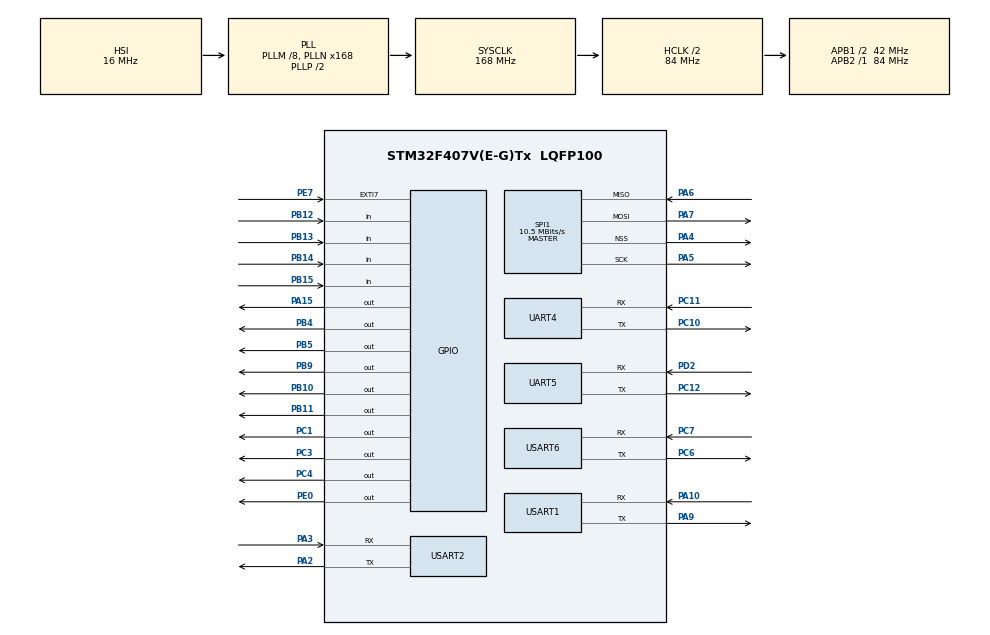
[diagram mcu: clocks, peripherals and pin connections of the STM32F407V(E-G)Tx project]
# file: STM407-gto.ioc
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Mcu.Family=STM32F4
PA6.Mode=Full_Duplex_Master
Dma.SPI1_TX.0.MemInc=DMA_MINC_ENABLE
PH0-OSC_IN.Signal=RCC_OSC_IN
VP_SYS_VS_tim6.Mode=TIM6
Dma.SPI1_TX.0.PeriphInc=DMA_PINC_DISABLE
RCC.CortexFreq_Value=84000000
SPI1.VirtualType=VM_MASTER
NVIC.TIM6_DAC_IRQn=true\:0\:0\:false\:false\:true\:false\:true
PC10.Signal=UART4_TX
PC12.Signal=UART5_TX
PA2.GPIO_Speed=GPIO_SPEED_FREQ_VERY_HIGH
VP_RTC_VS_RTC_Activate.Mode=RTC_Enabled
PB11.Signal=GPIO_Output
PB13.Signal=GPIO_Input
PB15.Signal=GPIO_Input
RCC.SYSCLKSource=RCC_SYSCLKSOURCE_PLLCLK
ProjectManager.StackSize=0x400
NVIC.UART5_IRQn=true\:0\:0\:false\:false\:true\:true\:true
VP_TIM7_VS_ClockSourceINT.Mode=Enable_Timer
SPI1.CLKPolarity=SPI_POLARITY_LOW
PA4.Mode=NSS_Signal_Hard_Output
SPI1.Direction=SPI_DIRECTION_2LINES
RCC.HCLKFreq_Value=84000000
RCC.APB2TimFreq_Value=84000000
PC7.Signal=USART6_RX
SPI1.CalculateBaudRate=10.5 MBits/s
PC3.Signal=GPIO_Output
RCC.AHBFreq_Value=84000000
PH0-OSC_IN.Mode=HSE-External-Oscillator
RCC.HSE_VALUE=25000000
PB3.Mode=Trace_Asynchronous_SW
PA14.Mode=Trace_Asynchronous_SW
SPI1.VirtualNSS=VM_NSSHARD
VP_TIM1_VS_ClockSourceINT.Mode=Internal
Dma.SPI1_TX.0.Mode=DMA_NORMAL
PH1-OSC_OUT.Mode=HSE-External-Oscillator
Mcu.Package=LQFP100
PB9.Signal=GPIO_Output
PA6.Signal=SPI1_MISO
NVIC.TimeBase=TIM6_DAC_IRQn
USART2.VirtualMode=VM_ASYNC
USART6.VirtualMode=VM_ASYNC
NVIC.TimeBaseIP=TIM6
PA10.Signal=USART1_RX
VP_RTC_VS_RTC_Calendar.Mode=RTC_Calendar
PA15.Signal=GPIO_Output
PC11.Mode=Asynchronous
RCC.APB1TimFreq_Value=84000000
PE7.Signal=GPXTI7
NVIC.USART1_IRQn=true\:0\:0\:false\:true\:true\:2\:true\:true
Dma.Request0=SPI1_TX
SPI1.BaudRatePrescaler=SPI_BAUDRATEPRESCALER_8
NVIC.TIM7_IRQn=true\:0\:0\:false\:false\:true\:true\:true
VP_TIM1_VS_ControllerModeTrigger.Mode=Trigger Mode
PB4.Signal=GPIO_Output
PA3.Signal=USART2_RX
NVIC.UART4_IRQn=true\:0\:0\:false\:false\:true\:true\:true
PA5.Mode=Full_Duplex_Master
PA7.Mode=Full_Duplex_Master
PA10.Mode=Asynchronous
PC11.Signal=UART4_RX
PC4.Signal=GPIO_Output
PC6.Signal=USART6_TX
PC10.Mode=Asynchronous
SPI1.CLKPhase=SPI_PHASE_1EDGE
UART5.VirtualMode=Asynchronous
RCC.APB1CLKDivider=RCC_HCLK_DIV2
UART4.VirtualMode=Asynchronous
NVIC.USART2_IRQn=true\:0\:0\:false\:false\:true\:true\:true
NVIC.USART6_IRQn=true\:0\:0\:false\:true\:true\:3\:true\:true
PA3.Mode=Asynchronous
PA13.Signal=SYS_JTMS-SWDIO
Dma.SPI1_TX.0.FIFOMode=DMA_FIFOMODE_DISABLE
PA9.Mode=Asynchronous
ProjectManager.TargetToolchain=STM32CubeIDE
PC6.Mode=Asynchronous
Dma.SPI1_TX.0.PeriphDataAlignment=DMA_PDATAALIGN_BYTE
Dma.SPI1_TX.0.Direction=DMA_MEMORY_TO_PERIPH
PA9.Signal=USART1_TX
VP_TIM1_VS_ClockSourceITR.Mode=TriggerSource_ITR0
NVIC.DMA2_Stream3_IRQn=true\:0\:0\:false\:false\:true\:false\:true
RCC.LSE_VALUE=32768
PB10.Signal=GPIO_Output
PB14.Signal=GPIO_Input
PD2.Mode=Asynchronous
PA5.Signal=SPI1_SCK
PC12.Mode=Asynchronous
TIM7.Prescaler=41
board=custom
RCC.VCOOutputFreq_Value=336000000
RCC.APB2Freq_Value=84000000
SPI1.Mode=SPI_MODE_MASTER
PH1-OSC_OUT.Signal=RCC_OSC_OUT
Dma.SPI1_TX.0.Instance=DMA2_Stream3
RCC.AHBCLKDivider=RCC_SYSCLK_DIV2
PA13.Mode=Trace_Asynchronous_SW
PE0.Signal=GPIO_Output
Mcu.Name=STM32F407V(E-G)Tx
PA2.Signal=USART2_TX
RCC.48MHZClocksFreq_Value=84000000
PB3.Signal=SYS_JTDO-SWO
PA4.Signal=SPI1_NSS
RCC.SYSCLKFreq_VALUE=168000000
PB5.Signal=GPIO_Output
USART1.VirtualMode=VM_ASYNC
NVIC.EXTI9_5_IRQn=true\:0\:0\:false\:false\:true\:true\:true
PA14.Signal=SYS_JTCK-SWCLK
ProjectManager.HeapSize=0x200
Dma.SPI1_TX.0.MemDataAlignment=DMA_MDATAALIGN_BYTE
Dma.SPI1_TX.0.Priority=DMA_PRIORITY_LOW
RCC.HSI_VALUE=16000000
NVIC.PriorityGroup=NVIC_PRIORITYGROUP_4
RCC.PLLM=8
RCC.PLLN=168
PA2.Mode=Asynchronous
PC7.Mode=Asynchronous
PD2.Signal=UART5_RX
RCC.APB1Freq_Value=42000000
PC1.Signal=GPIO_Output
PB12.Signal=GPIO_Input
PA7.Signal=SPI1_MOSI

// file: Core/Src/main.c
/* USER CODE BEGIN Header */
/**
  ******************************************************************************
  * @file           : main.c
  * @brief          : Main program body
  ******************************************************************************
  * @attention
  *
  * <h2><center>&copy; Copyright (c) 2021 STMicroelectronics.
  * All rights reserved.</center></h2>
  *
  * This software component is licensed by ST under BSD 3-Clause license,
  * the "License"; You may not use this file except in compliance with the
  * License. You may obtain a copy of the License at:
  *                        opensource.org/licenses/BSD-3-Clause
  *
  ******************************************************************************
  */
/* USER CODE END Header */
#include "main.h"

/* USER CODE BEGIN Includes */
#include "stdio.h"
#include "string.h"
#include "stdlib.h"
#include "dwt_stm32_delay.h"	//gto

#include "dhcp.h"				//gto
#include "w5100.h"				//gto
#include "wizchip_conf.h"		//gto
#include "socket.h"				//gto

//gto make
#include "spi_handler.h"
#include "uart.h"
#include "gpio.h"

/* USER CODE END Includes */

RTC_HandleTypeDef hrtc;

//SPI_HandleTypeDef hspi1;
DMA_HandleTypeDef hdma_spi1_tx;

TIM_HandleTypeDef htim1;
TIM_HandleTypeDef htim7;

/*
UART_HandleTypeDef huart4;
UART_HandleTypeDef huart5;
UART_HandleTypeDef huart1;
UART_HandleTypeDef huart2;
UART_HandleTypeDef huart6;
*/

void SystemClock_Config(void);
//static void MX_GPIO_Init(void);
static void MX_DMA_Init(void);
//static void MX_USART2_UART_Init(void);
//static void MX_USART1_UART_Init(void);
//static void MX_UART4_Init(void);
//static void MX_UART5_Init(void);
//static void MX_USART6_UART_Init(void);
//static void MX_SPI1_Init(void);
static void MX_TIM1_Init(void);
static void MX_TIM7_Init(void);
static void MX_RTC_Init(void);
static void MX_NVIC_Init(void);

/* USER CODE BEGIN 0 */
//gto
//char *gto_substr(int s, int e, char *str);
void Sync_out();
char *SubStr( char *pnInput, int nStart, int nLen );

#define SYNC_GEN	GPIO_PIN_0
#define DOWN_EN		GPIO_PIN_9
#define GPIO_A		GPIO_PIN_5
#define TX_EN		GPIO_PIN_1
#define RX_EN		GPIO_PIN_3

//ETHERNET (W5100) -gto
#define E_INT		GPIO_PIN_7
#define E_RST		GPIO_PIN_4
#define E_SCLK		GPIO_PIN_5
#define E_MOSI		GPIO_PIN_7
#define E_MISO		GPIO_PIN_6

//gto
/*ID*/
#define ID1			GPIO_PIN_12
#define ID2			GPIO_PIN_13
#define ID3			GPIO_PIN_14
#define ID4			GPIO_PIN_15

uint8_t start_data[17] = "START 32F407 \r\n";
uint8_t tx_data[10] = "recvD\r\n";
uint8_t rx_data5[10] = "uart5\r\n";
uint8_t rx_data4[10] = "uart4\r\n";
uint8_t dma_tx[10] = "hello gto ";
uint8_t data[1] = "S";
uint8_t sync_Signal = 0xff;
uint8_t test = 0x11;
uint8_t uart2_Signal = 0x00;
uint8_t uart6_Signal = 0x11;

uint8_t from105_00[5] = "10500";
uint8_t rx_data;

uint8_t etherNet_Flag = 0;

uint8_t id_1, id_2, id_3, id_4;
int deci1,deci2,deci3,deci4;
int result_bin;
int binary[20];

uint8_t recv_array[5];
uint8_t recv_cnt = 0;

char master_Name[2];

//uint8_t   data_receive_flag = 0;

//uint8_t   uart_6_flag = 0;

char 	compare_CMD[28] = "[FID=XX SLAVE ANCHOR DEVICE]";
char* 	reset_CMD;

/*##########################################################################################################*/
/* Ethernet */
#define PORT				60500
#define SEPARATOR            "=============================================\r\n"
#define WELCOME_MSG  		 "Welcome to STM32Nucleo Ethernet configuration\r\n"
#define NETWORK_MSG  		 "Network configuration:\r\n"
#define IP_MSG 		 		 "  IP ADDRESS:  %d.%d.%d.%d\r\n"
#define NETMASK_MSG	         "  NETMASK:     %d.%d.%d.%d\r\n"
#define GW_MSG 		 		 "  GATEWAY:     %d.%d.%d.%d\r\n"
#define MAC_MSG		 		 "  MAC ADDRESS: %x:%x:%x:%x:%x:%x\r\n"
#define GREETING_MSG 		 "Well done! Connected to the STM-407 Board. GoodBye!!\r\n"
#define CONN_ESTABLISHED_MSG "Connection established with remote IP: %d.%d.%d.%d:%d\r\n"
#define SENT_MESSAGE_MSG	 "Sent a message. Let's close the socket!\r\n"
#define WRONG_RETVAL_MSG	 "Something went wrong; return value: %d\r\n"
#define WRONG_STATUS_MSG	 "Something went wrong; STATUS: %d\r\n"
#define LISTEN_ERR_MSG		 "LISTEN Error!\r\n"
#define GTO_MSG		 		 "GTO Return MSG\r\n"

#define E_RST_HIGH()		HAL_GPIO_WritePin(GPIOC, E_RST, 1)
#define E_RST_LOW()			HAL_GPIO_WritePin(GPIOC, E_RST, 0)

#define SOCK_LISTEN         0x14
#define SOCK_INIT	        0x13
#define SOCK_ESTABLISHED    0x17
#define SOCK_CLOSE_WAIT     0x1C
#define SOCK_CLOSED			0x00

#define PRINT_STR(msg) do  {										\
  HAL_UART_Transmit(&huart1, (uint8_t*)msg, strlen(msg), 100);		\
} while(0)

#define PRINT_HEADER() do  {													\
  HAL_UART_Transmit(&huart1, (uint8_t*)SEPARATOR, strlen(SEPARATOR), 100);		\
  HAL_UART_Transmit(&huart1, (uint8_t*)WELCOME_MSG, strlen(WELCOME_MSG), 100);	\
  HAL_UART_Transmit(&huart1, (uint8_t*)SEPARATOR, strlen(SEPARATOR), 100);		\
} while(0)

#define PRINT_NETINFO(netInfo) do { 																					\
  HAL_UART_Transmit(&huart1, (uint8_t*)NETWORK_MSG, strlen(NETWORK_MSG), 100);											\
  sprintf(msg, MAC_MSG, netInfo.mac[0], netInfo.mac[1], netInfo.mac[2], netInfo.mac[3], netInfo.mac[4], netInfo.mac[5]);\
  HAL_UART_Transmit(&huart1, (uint8_t*)msg, strlen(msg), 100);															\
  sprintf(msg, IP_MSG, netInfo.ip[0], netInfo.ip[1], netInfo.ip[2], netInfo.ip[3]);										\
  HAL_UART_Transmit(&huart1, (uint8_t*)msg, strlen(msg), 100);															\
  sprintf(msg, NETMASK_MSG, netInfo.sn[0], netInfo.sn[1], netInfo.sn[2], netInfo.sn[3]);								\
  HAL_UART_Transmit(&huart1, (uint8_t*)msg, strlen(msg), 100);															\
  sprintf(msg, GW_MSG, netInfo.gw[0], netInfo.gw[1], netInfo.gw[2], netInfo.gw[3]);										\
  HAL_UART_Transmit(&huart1, (uint8_t*)msg, strlen(msg), 100);															\
} while(0)

void loopback_tcpc(SOCKET s, uint16_t port);

char msg[60];

void cs_sel() {
	HAL_GPIO_WritePin(GPIOA, GPIO_PIN_4, GPIO_PIN_RESET); //CS LOW
}

void cs_desel() {
	HAL_GPIO_WritePin(GPIOA, GPIO_PIN_4, GPIO_PIN_SET); //CS HIGH
}

uint8_t spi_rb(void) {
	uint8_t rbuf;
	HAL_SPI_Receive(&hspi1, &rbuf, 1, 0xFFFFFFFFU);
	return rbuf;
}

void spi_wb(uint8_t b) {
	HAL_SPI_Transmit(&hspi1, &b, 1, 0xFFFFFFFFU);
}

uint8_t retVal, sockStatus;
uint8_t bufSize[] = {2, 2, 2, 2};

#define SOCK_TCPS			0
#define TX_RX_MAX_BUF_SIZE	2048

int32_t loopback_tcps(uint8_t, uint8_t*, uint16_t);		// Loopback TCP server

//static uint8_t buff_size[] = { 2, 2, 2, 2 };
#define Sn_IMR(N)          (_W5100_IO_BASE_ + (0x002C << 8) + (WIZCHIP_SREG_BLOCK(N) << 3))
#define setSn_IMR(sn, imr) \
		WIZCHIP_WRITE(Sn_IMR(sn), (imr & 0x1F))1

uint32_t	ret;
uint16_t	size = 0, sentsize = 0;

uint8_t c_buffer[2048];		//client sends 8 bytes
uint8_t test_100[100] = "gtogtogtogtogtogtogtogtogtogtogtogtogtogtogtogtogtogtogtogtogtogtogtogtogtogtogtogtogtogto1234567890";

uint8_t ah, as;
static uint16_t wizDHCPticks = 0;

#define DMA_BUF_SIZE   2048
uint8_t TX_Buffer[5];

DESTINATION_SETUP Destination_Setup;
uint8_t gDATABUF[DATA_BUF_SIZE];
uint8_t TX_BUF[DATA_BUF_SIZE]; // TX Buffer for applications
uint8_t ch_status[MAX_SOCK_NUM] = { 0, };	// 0:close, 1:ready, 2:connected
uint16_t sys_tick_cnt;
wiz_NetInfo gWIZNETINFO;
/*##########################################################################################################*/
//for SPI DMA

DMA_InitTypeDef  DMA_InitStructure;

/*##########################################################################################################*/
//External Interrupt
void HAL_GPIO_EXTI_Callback(uint16_t GPIO_Pin)
{
	printf("EXTERNAL INTERRUPT CALLBACK EVENT !! \r\n");
	etherNet_Flag = 1;
	//setSn_IR(0, 0xff);
	//TCP_Ethernet_Server();
}
/*##########################################################################################################*/

/*##########################################################################################################*/
/*Send information (strings) to the console (PC) */

/*printf for uart1*/	//gto
int _write(int file, char *ptr, int len)
{
	HAL_UART_Transmit(&huart1, (uint8_t *) ptr, len, 500);
	return len;
}

/*Function to write directly to UART*/	//gto
void debugPrint(UART_HandleTypeDef *huart1, char _out[]){
 HAL_UART_Transmit(huart1, (uint8_t *) _out, strlen(_out), 10);
}

/*Function to write to UART and new line termination*/ //gto
void debugPrintln(UART_HandleTypeDef *huart, char _out[]){
 HAL_UART_Transmit(huart, (uint8_t *) _out, strlen(_out), 10);
 char newline[2] = "\r\n";
 HAL_UART_Transmit(huart, (uint8_t *) newline, 2, 10);
}

/*##########################################################################################################*/

/* USER CODE END 0 */

int main(void)
{

  /* MCU Configuration--------------------------------------------------------*/

  /* Reset of all peripherals, Initializes the Flash interface and the Systick. */
  HAL_Init();

  /* Configure the system clock */
  SystemClock_Config();

  /* Initialize all configured peripherals */
  MX_GPIO_Init();

  MX_SPI1_Init();

  MX_DMA_Init();

  MX_USART1_UART_Init();
  MX_USART2_UART_Init();
  MX_UART5_Init();
  MX_UART4_Init();
  MX_USART6_UART_Init();

  MX_TIM1_Init();
  MX_TIM7_Init();

  MX_RTC_Init();

  /* Initialize interrupts */
  MX_NVIC_Init();
  /* USER CODE BEGIN 2 */

  /*##########################################################################################################*/
  /*START DEBUGGING MESSAGE*/

  printf("\r\n * Start STM32F407 for Master Anchor - 20210825 GTO * \r\n\n");
  printf(" =============== 1. UART and 4Mbps test Okay (USART 1, 2, 3, 4, 5, 6) \r\n");
  printf(" =============== 2. GPIO test Okay \r\n");
  printf(" =============== 3. SPI and EXTI test Okay (for Ethernet) \r\n");
  printf(" =============== 4. ETHERNET test Okay (Handler Callback) \r\n");
  printf("\n");

  /*END DEBUGGING MESSAGE*/
  /*##########################################################################################################*/

  /*##########################################################################################################*/
  /*INTERRUPT SET*/
  //gto
  HAL_UART_Receive_IT(&huart1, &rx_data, 1);
  HAL_UART_Receive_IT(&huart2, (uint8_t *) &data, 1); // interrupt uart 2
  HAL_UART_Receive_IT(&huart6, (uint8_t *) &GTO_rxdata, 1); // interrupt uart 6

  /*PIN SET*/
  HAL_GPIO_WritePin(GPIOB, DOWN_EN, 0); 	// GPIO PB9 OUTPUT LOW -> Down enable
  HAL_GPIO_WritePin(GPIOE, SYNC_GEN, 0); 	// SYNC_GEN LOW

  HAL_GPIO_WritePin(GPIOC, TX_EN, 1);		// GPIO PC1 OUTPUT HIGH -> tx enable
  HAL_GPIO_WritePin(GPIOC, RX_EN, 0);		// GPIO PC1 OUTPUT LOW -> rx enable

  //HAL_GPIO_WritePin(GPIOC, RX_EN, 1);		// GPIO PC1 OUTPUT HIGH -> rx enable

  /*##########################################################################################################*/

  /*##########################################################################################################*/
  /*ETHERNET SET*/
  //gto
  //printf("\r\n EHTERNET RUNNING .... 20210813 \r\n");
  E_RST_HIGH();								// Ethernet Enable
  //HAL_GPIO_WritePin(GPIOC, E_RST, 1);		// Ethernet Enable

  //HAL_GPIO_WritePin(GPIOE, GPIO_PIN_7, 1);	// Ethernet Extra Interrupt Enable

  reg_wizchip_cs_cbfunc(cs_sel, cs_desel);

  reg_wizchip_spi_cbfunc(spi_rb, spi_wb);

  wizchip_init(bufSize, bufSize);
  /*
  wiz_NetInfo netInfo = { .mac 	= {0x00, 0x08, 0xdc, 0xab, 0xcd, 0xef},	// Mac address
		  	  	  	  	  .ip 	= {192, 168, 2, 192},					// IP address
						  .sn 	= {255, 255, 255, 0},					// Subnet mask
						  .gw 	= {192, 168, 2, 1}};					// Gateway address
  */

  wiz_NetInfo netInfo = { .mac 	= {0x59, 0x08, 0xdc, 0xab, 0xcd, 0xef},	// Mac address
 		  	  	  	  	  .ip 	= {10, 0, 7, 211},						// IP address
 						  .sn 	= {255, 255, 248, 0},					// Subnet mask
 						  .gw 	= {10, 0, 0, 1}};						// Gateway address

  wizchip_setnetinfo(&netInfo);
  wizchip_getnetinfo(&netInfo);
  PRINT_NETINFO(netInfo);

  // target server ip set
  Destination_Setup.destip[0] = 10; Destination_Setup.destip[1] = 0; Destination_Setup.destip[2] = 0; Destination_Setup.destip[3] = 87;
  // target server port set
  Destination_Setup.port = 60500;

  //HAL_SPI_Transmit_DMA(&hspi1, DMA_BUF_SIZE, 1); //Transmit DMA Enable
  //HAL_SPI_Receive_DMA(&hspi1, DMA_BUF_SIZE, 1);  //Receive DMA Enable

  /*##########################################################################################################*/

  /* USER CODE END 2 */

  /* Infinite loop */
  /* USER CODE BEGIN WHILE */

  //HAL_GPIO_WritePin(GPIOC, GPIO_PIN_1, 1); // GPIO PC1 OUTPUT HIGH -> tx enable
  //HAL_GPIO_WritePin(GPIOC, E_RST, 0);

  uint8_t tmp;
  uint8_t memsize[2][8] = {{2,2,2,2,2,2,2,2},{2,2,2,2,2,2,2,2}};

  /* WIZCHIP SOCKET Buffer initialize */
  if(ctlwizchip(CW_INIT_WIZCHIP,(void*)memsize) == -1)
  {
	  printf("WIZCHIP Initialized fail.\r\n");
	  DWT_Delay_us(10);
	  while(1);
  }

  /* PHY link status check */

  do
  {
	  if(ctlwizchip(CW_GET_PHYLINK, (void*)&tmp) == -1){
		  DWT_Delay_us(10);
		  printf("Unknown PHY Link stauts.\r\n");
	  }

  }while(tmp == PHY_LINK_OFF);

  while (1)
  {

	  //DWT_Delay_us(1000);											// 10 microsecond
	  //HAL_UART_Transmit(&huart6, (uint8_t *) &test, 1, 10);		//4mbps test

	  //loopback_tcps(SOCK_TCPS, 20, 60500);
	  loopback_tcpc(1, 60500);
	  DWT_Delay_us(1000);

	  //setIMR(0x01);
	  //setSn_IR(0, Sn_IR_RECV);	//Interrupt occurs only in the recv interrupt of socket '0'.

	  if (uart1_key_Flag){
		  uart1_key_Flag = 0;
		  switch(rx_data){
			  case 'a':
				  debugPrint(&huart1, "debugPrint test ");
				  debugPrintln(&huart1, "debugPrintln test");
				  printf("printf test\r\n");
				  break;

			  case 's':
				  Sync_out();
				  break;

			  case '2':
				  HAL_GPIO_WritePin(GPIOE, SYNC_GEN, 0);
				  HAL_GPIO_WritePin(GPIOB, GPIO_A, 0);								// GPIO PB5 OUTPUT LOW  -> USART2 enable
				  break;

			  case '6':
				  HAL_GPIO_WritePin(GPIOE, SYNC_GEN, 0);
				  HAL_GPIO_WritePin(GPIOB, GPIO_A, 1);								// GPIO PB5 OUTPUT HIGH -> USART6 enable
				  break;

			  case 'r':
				  HAL_UART_Transmit(&huart2, (uint8_t *) data, 1, 10);				// send data(0x00)
				  break;

			  case 't':
				  HAL_UART_Transmit(&huart6, (uint8_t *) &uart6_Signal, 1, 10);		// send data(0x00)
				  break;

			  case 'z':
				  HAL_UART_Transmit(&huart2, (uint8_t *) "[RID=00 407 TO SLAVE ANCHOR DEVICE]", 35, 100);
				  break;

			  case 'x':
				  HAL_UART_Transmit(&huart2, (uint8_t *) "[RID=01 407 TO SLAVE ANCHOR DEVICE]", 35, 100);
				  break;

			  case 'c':
				  HAL_UART_Transmit(&huart2, (uint8_t *) "[RID=08 407 TO SLAVE ANCHOR DEVICE]", 35, 100);
				  break;

			  case 'e':
				  //etherNet_Flag = 1;
				  //setIMR(0x01);
				  //setSn_IR(0, Sn_IR_RECV);	//Interrupt occurs only in the recv interrupt of socket '0'.

				  //HAL_SPI_Transmit(&hspi1, (uint8_t *)"GTO", 3, 100);
				  /*
				  if (etherNet_Flag){
					  etherNet_Flag = 0;
					  //setSn_IMR(0, 0xff);	//Interrupt occurs only in the recv interrupt of socket '0'.
					  if((retVal = send(SOCK_TCPS, GREETING_MSG, strlen(GREETING_MSG))) == (int16_t)strlen(GREETING_MSG)) {
						  printf("######### 407 board transmits data to server !! \r\n");
					  }
				  }*/
				  /*
				  for(int j = 0; j <100; j++ ){

					  for (int i = 0; i < 100; i++){
						  //send(SOCK_TCPS, test_100, 100);
						  while(!(USART1->SR & 0x80)){}
						  USART1->DR=test_100[i];
					  }
					  printf("\r\n");
				  }

				  printf("----------------------------- for loop end \r\n");
				  */
				  send(0, test_100, 100);

				  break;
		  }
	  }

	  /*
	  if (etherNet_Flag){
		  etherNet_Flag = 0;
		  if(getSn_SR(SOCK_TCPS) == SOCK_ESTABLISHED){
			  //setIMR(0x01);
			  //setSn_IR(0, Sn_IR_RECV);	//Interrupt occurs only in the recv interrupt of socket '0'.
			  ret = recv(SOCK_TCPS, c_buffer, sizeof(c_buffer));
			  ret = send(SOCK_TCPS, c_buffer, strlen(c_buffer));
			  //printf("recv data from client %c \r\n", c_buffer);
			  for (int i = 0; i < 4; i++) {
				  printf("recv data from client %c \r\n", c_buffer[i]);
			  }
		  }
	  }*/

	  //setIMR(0x01);
	  //setSn_IR(0, Sn_IR_RECV);	//Interrupt occurs only in the recv interrupt of socket '0'.

	  if(uart2_key_Flag) {
		  uart2_key_Flag = 0;
		  printf("uart2 flag on \r\n");
		  reset_CMD = SubStr(rxd, 0, 35);
		  printf("substring %s\r\n", reset_CMD);
		  //HAL_Delay(1);
		  for (int i = 0; i < LENGTH; i++) {
			  HAL_UART_Transmit(&huart1, (uint8_t *) &rxd[i], 1, 10);
		  }
	  }

	  if(uart_6_flag) {
		  uart_6_flag = 0;

		  printf("Received 105 Data \r\n");

		  //HAL_Delay(1);

		  for (int i = 0; i < GTO_LENGTH; i++) {
			  HAL_UART_Transmit(&huart1, (uint8_t *) &GTO_rxd[i], 1, 10);
		  }
		  //printf("\r\n\r\n");

	  }

	  id_1 = HAL_GPIO_ReadPin(GPIOB, ID1);
	  id_2 = HAL_GPIO_ReadPin(GPIOB, ID2);
	  id_3 = HAL_GPIO_ReadPin(GPIOB, ID3);
	  id_4 = HAL_GPIO_ReadPin(GPIOB, ID4);

  }

    /* USER CODE END WHILE */

}

void SystemClock_Config(void)
{
  RCC_OscInitTypeDef RCC_OscInitStruct = {0};
  RCC_ClkInitTypeDef RCC_ClkInitStruct = {0};
  RCC_PeriphCLKInitTypeDef PeriphClkInitStruct = {0};

  /** Configure the main internal regulator output voltage
  */
  __HAL_RCC_PWR_CLK_ENABLE();
  __HAL_PWR_VOLTAGESCALING_CONFIG(PWR_REGULATOR_VOLTAGE_SCALE1);
  /** Initializes the RCC Oscillators according to the specified parameters
  * in the RCC_OscInitTypeDef structure.
  */
  RCC_OscInitStruct.OscillatorType = RCC_OSCILLATORTYPE_HSI|RCC_OSCILLATORTYPE_LSI;
  RCC_OscInitStruct.HSIState = RCC_HSI_ON;
  RCC_OscInitStruct.HSICalibrationValue = RCC_HSICALIBRATION_DEFAULT;
  RCC_OscInitStruct.LSIState = RCC_LSI_ON;
  RCC_OscInitStruct.PLL.PLLState = RCC_PLL_ON;
  RCC_OscInitStruct.PLL.PLLSource = RCC_PLLSOURCE_HSI;
  RCC_OscInitStruct.PLL.PLLM = 8;
  RCC_OscInitStruct.PLL.PLLN = 168;
  RCC_OscInitStruct.PLL.PLLP = RCC_PLLP_DIV2;
  RCC_OscInitStruct.PLL.PLLQ = 4;
  if (HAL_RCC_OscConfig(&RCC_OscInitStruct) != HAL_OK)
  {
    Error_Handler();
  }
  /** Initializes the CPU, AHB and APB buses clocks
  */
  RCC_ClkInitStruct.ClockType = RCC_CLOCKTYPE_HCLK|RCC_CLOCKTYPE_SYSCLK
                              |RCC_CLOCKTYPE_PCLK1|RCC_CLOCKTYPE_PCLK2;
  RCC_ClkInitStruct.SYSCLKSource = RCC_SYSCLKSOURCE_PLLCLK;
  RCC_ClkInitStruct.AHBCLKDivider = RCC_SYSCLK_DIV2;
  RCC_ClkInitStruct.APB1CLKDivider = RCC_HCLK_DIV2;
  RCC_ClkInitStruct.APB2CLKDivider = RCC_HCLK_DIV1;

  if (HAL_RCC_ClockConfig(&RCC_ClkInitStruct, FLASH_LATENCY_2) != HAL_OK)
  {
    Error_Handler();
  }
  PeriphClkInitStruct.PeriphClockSelection = RCC_PERIPHCLK_RTC;
  PeriphClkInitStruct.RTCClockSelection = RCC_RTCCLKSOURCE_LSI;
  if (HAL_RCCEx_PeriphCLKConfig(&PeriphClkInitStruct) != HAL_OK)
  {
    Error_Handler();
  }
}

/**
  * @brief NVIC Configuration.
  * @retval None
  */
static void MX_NVIC_Init(void)
{
  /* USART1_IRQn interrupt configuration */
  HAL_NVIC_SetPriority(USART1_IRQn, 0, 0);
  HAL_NVIC_EnableIRQ(USART1_IRQn);
  /* USART6_IRQn interrupt configuration */
  HAL_NVIC_SetPriority(USART6_IRQn, 0, 0);
  HAL_NVIC_EnableIRQ(USART6_IRQn);
}

static void MX_RTC_Init(void)
{

  RTC_TimeTypeDef sTime = {0};
  RTC_DateTypeDef sDate = {0};

  /** Initialize RTC Only
  */
  hrtc.Instance = RTC;
  hrtc.Init.HourFormat = RTC_HOURFORMAT_24;
  hrtc.Init.AsynchPrediv = 127;
  hrtc.Init.SynchPrediv = 255;
  hrtc.Init.OutPut = RTC_OUTPUT_DISABLE;
  hrtc.Init.OutPutPolarity = RTC_OUTPUT_POLARITY_HIGH;
  hrtc.Init.OutPutType = RTC_OUTPUT_TYPE_OPENDRAIN;
  if (HAL_RTC_Init(&hrtc) != HAL_OK)
  {
    Error_Handler();
  }

  /** Initialize RTC and set the Time and Date
  */
  sTime.Hours = 0x0;
  sTime.Minutes = 0x0;
  sTime.Seconds = 0x0;
  sTime.DayLightSaving = RTC_DAYLIGHTSAVING_NONE;
  sTime.StoreOperation = RTC_STOREOPERATION_RESET;
  if (HAL_RTC_SetTime(&hrtc, &sTime, RTC_FORMAT_BCD) != HAL_OK)
  {
    Error_Handler();
  }
  sDate.WeekDay = RTC_WEEKDAY_MONDAY;
  sDate.Month = RTC_MONTH_JANUARY;
  sDate.Date = 0x1;
  sDate.Year = 0x0;

  if (HAL_RTC_SetDate(&hrtc, &sDate, RTC_FORMAT_BCD) != HAL_OK)
  {
    Error_Handler();
  }

}

static void MX_TIM1_Init(void)
{

  TIM_ClockConfigTypeDef sClockSourceConfig = {0};
  TIM_SlaveConfigTypeDef sSlaveConfig = {0};
  TIM_MasterConfigTypeDef sMasterConfig = {0};

  htim1.Instance = TIM1;
  htim1.Init.Prescaler = 0;
  htim1.Init.CounterMode = TIM_COUNTERMODE_UP;
  htim1.Init.Period = 65535;
  htim1.Init.ClockDivision = TIM_CLOCKDIVISION_DIV1;
  htim1.Init.RepetitionCounter = 0;
  htim1.Init.AutoReloadPreload = TIM_AUTORELOAD_PRELOAD_DISABLE;
  if (HAL_TIM_Base_Init(&htim1) != HAL_OK)
  {
    Error_Handler();
  }
  sClockSourceConfig.ClockSource = TIM_CLOCKSOURCE_INTERNAL;
  if (HAL_TIM_ConfigClockSource(&htim1, &sClockSourceConfig) != HAL_OK)
  {
    Error_Handler();
  }
  sSlaveConfig.SlaveMode = TIM_SLAVEMODE_TRIGGER;
  sSlaveConfig.InputTrigger = TIM_TS_ITR0;
  if (HAL_TIM_SlaveConfigSynchro(&htim1, &sSlaveConfig) != HAL_OK)
  {
    Error_Handler();
  }
  sMasterConfig.MasterOutputTrigger = TIM_TRGO_RESET;
  sMasterConfig.MasterSlaveMode = TIM_MASTERSLAVEMODE_DISABLE;
  if (HAL_TIMEx_MasterConfigSynchronization(&htim1, &sMasterConfig) != HAL_OK)
  {
    Error_Handler();
  }

}

static void MX_TIM7_Init(void)
{

  TIM_MasterConfigTypeDef sMasterConfig = {0};

  htim7.Instance = TIM7;
  htim7.Init.Prescaler = 41;
  htim7.Init.CounterMode = TIM_COUNTERMODE_UP;
  htim7.Init.Period = 65535;
  htim7.Init.AutoReloadPreload = TIM_AUTORELOAD_PRELOAD_DISABLE;
  if (HAL_TIM_Base_Init(&htim7) != HAL_OK)
  {
    Error_Handler();
  }
  sMasterConfig.MasterOutputTrigger = TIM_TRGO_RESET;
  sMasterConfig.MasterSlaveMode = TIM_MASTERSLAVEMODE_DISABLE;
  if (HAL_TIMEx_MasterConfigSynchronization(&htim7, &sMasterConfig) != HAL_OK)
  {
    Error_Handler();
  }

}

static void MX_DMA_Init(void)
{

  /* DMA controller clock enable */
  __HAL_RCC_DMA2_CLK_ENABLE();

  /* DMA interrupt init */
  /* DMA2_Stream3_IRQn interrupt configuration */
  HAL_NVIC_SetPriority(DMA2_Stream3_IRQn, 0, 0);
  HAL_NVIC_EnableIRQ(DMA2_Stream3_IRQn);

}

/* USER CODE BEGIN 4 */
/*##########################################################################################################*/
/*TCP Client*/
#ifdef __TCP_CLIENT__
void loopback_tcpc(SOCKET s, uint16_t port)
{
   uint16_t RSR_len;
   uint16_t received_len;
   uint16_t any_port = 60500;
   uint8_t * data_buf = TX_BUF;
   //printf("socket client -> %d \r\n", s);

   switch (getSn_SR(s))
   {
   	   	//printf("socket client -> %d \r\n", s);
		case SOCK_ESTABLISHED:                 /* if connection is established */
				  if(ch_status[s]==1)
				  {
					 printf("%d : Server IP : %d.%d.%d.%d , Port : %d  Connect \r\n", s,
							 Destination_Setup.destip[0],Destination_Setup.destip[1],Destination_Setup.destip[2],Destination_Setup.destip[3],Destination_Setup.port);
					 //printf("\r\n%d : Server IP : %d.%d.%d.%d  , Port : %d  Connected",s, 10, 0, 0 , 87, 60500);
					 ch_status[s] = 2;
				  }

				  if ((RSR_len = getSn_RX_RSR(s)) > 0)         /* check Rx data */
				  {
					 if (RSR_len > DATA_BUF_SIZE) RSR_len = DATA_BUF_SIZE;   /* if Rx data size is lager than TX_RX_MAX_BUF_SIZE */
																						/* the data size to read is MAX_BUF_SIZE. */
					 received_len = recv(s, data_buf, RSR_len);         /* read the received data */
					 send(s, data_buf, received_len);         /* sent the received data */

					 printf("RX : %s \r\n",data_buf);
				  }

				  break;

		case SOCK_CLOSE_WAIT:                                 /* If the client request to close */
				  printf("\r\n%d : close ! \r\n", s);
				  if ((RSR_len = getSn_RX_RSR(s)) > 0)         /* check Rx data */
				  {
					 if (RSR_len > DATA_BUF_SIZE) RSR_len = DATA_BUF_SIZE;   /* if Rx data size is lager than TX_RX_MAX_BUF_SIZE */
																								/* the data size to read is MAX_BUF_SIZE. */
					 received_len = recv(s, data_buf, RSR_len);         /* read the received data */
				  }
				  disconnect(s);
				  ch_status[s] = 0;
				  break;

		case SOCK_CLOSED:                                               /* if a socket is closed */
				  if(!ch_status[s])
				  {
					 printf("\r\n%d : Loop-Back TCP Client Started. port: %d\r\n", s, port);
					 ch_status[s] = 1;
				  }
				  if(socket(s, Sn_MR_TCP, any_port++, 0x00) == 0)    /* reinitialize the socket */
				  {
					 printf("\a%d : Fail to create socket.\r\n",s);
					 ch_status[s] = 0;
				  }
				  break;

		case SOCK_INIT:     /* if a socket is initiated */
				  if(sys_tick_cnt == 0)
				  {
					  connect(s, Destination_Setup.destip, Destination_Setup.port); /* Try to connect to TCP server(Socket, DestIP, DestPort) */
					  sys_tick_cnt = 3000;
				  }
				  break;
		default:
				  break;
	}
}
#endif

/*##########################################################################################################*/
/*TCP Server*/
#ifdef __TCP_SERVER__
int32_t loopback_tcps(uint8_t sn, uint8_t * buf, uint16_t port)
{
	//setIMR(0x01);
	//setSn_IR(0, Sn_IR_RECV);	//Interrupt occurs only in the recv interrupt of socket '0'.

   switch(getSn_SR(sn))
   {
   	   case SOCK_LISTEN :
   		   asm("nop");
   		   break;

   	   case SOCK_ESTABLISHED :
   		   //setIMR(0x01);
   		   //setSn_IR(0, Sn_IR_RECV);	//Interrupt occurs only in the recv interrupt of socket '0'.

   		   if(getSn_IR(sn) & Sn_IR_CON)
   		   {
   			   printf(" >>>>>>>> Socket Num. %d : Connected \r\n\n", sn);
   			   setSn_IR(sn, Sn_IR_CON);
   		   }
   		   if((size = getSn_RX_RSR(sn)) > 0)
		   {
			   ret = recv(SOCK_TCPS, c_buffer, sizeof(c_buffer));
			   //USART1->DR = c_buffer[0] ;
			   printf(" ######### Data received from the CLient : %s \r\n", c_buffer);
			   ret = send(SOCK_TCPS, c_buffer+sentsize, size-sentsize);
			   //HAL_SPI_Transmit_DMA(&hspi1, dma_tx, 10);
			   //HAL_SPI_Transmit_DMA(&hspi1, c_buffer, sizeof(c_buffer));

		   }

   		   while(size != sentsize)
   		   {
   			 if(ret < 0)
   			 {
   				 close(sn);
   				 return ret;
   			 }
   			 sentsize += ret; // Don't care SOCKERR_BUSY, because it is zero.
   		   }

   		   /*
   		   if((size = getSn_RX_RSR(sn)) > 0)
  		   {
   			   //setIMR(0x01);
			   //setSn_IR(0, Sn_IR_RECV);	//Interrupt occurs only in the recv interrupt of socket '0'.
   			   if(size > TX_RX_MAX_BUF_SIZE) size = TX_RX_MAX_BUF_SIZE;
   			   ret = recv(sn, buf, size);
   			   if(ret <= 0) return ret;
   			   sentsize = 0;

   			   ret = send(sn, buf, strlen(buf));
			   printf(" ######### Data received from the server : %s \r\n", buf);

   			   while(size != sentsize)
   			   {
   				   //ret = send(sn, buf, strlen(buf));
   				   //ret = send(sn, GTO_MSG, strlen(GTO_MSG));
   				   //printf(" ######### Data received from the server : %s \r\n", buf);

   				   //ret = send(SOCK_TCPS, c_buffer, strlen(c_buffer));
   				   //printf(" ######### Data received from the server : %s \r\n", c_buffer);

   				   if(ret < 0)
   				   {
   					   close(sn);
   					   return ret;
   				   }
   				   sentsize += ret; // Don't care SOCKERR_BUSY, because it is zero.
   			   }
   		   }*/
   		   break;

   	   case SOCK_CLOSE_WAIT :
   		   printf(" ******** Socket Num. %d:CloseWait \r\n",sn);
   		   if((ret=disconnect(sn)) != SOCK_OK) return ret;
   		   printf("%d:Closed \r\n", sn);
   		   break;

   	   case SOCK_INIT :
   		   printf(" ******** Socket Num. %d : Listen, port [%d]\r\n",sn, port);
   		   if( (ret = listen(sn)) != SOCK_OK) return ret;
   		   break;

   	   case SOCK_CLOSED:
   		   printf(" ******** Socket Num. %d : LBTStart \r\n", sn);
   		   if((ret=socket(sn, Sn_MR_TCP, port, 0x00)) != sn)
   			   return ret;
   		   printf(" ******** Socket Num. %d : Opened \r\n", sn);
   		   break;

   	   default:
   		   break;
   }
   return 1;
}
#endif
/*##########################################################################################################*/
void TCP_Ethernet_Server(void){
	printf("\r\n EHTERNET RUNNING .... 20210817 \r\n");

	/* Open socket 0 as TCP_SOCKET with port 60500 */
	if((retVal = socket(0, Sn_MR_TCP, PORT, 0)) == 0) {
		/* Put socket in LISTEN mode. This means we are creating a TCP server */
		if((retVal = listen(0)) == SOCK_OK) {
			printf("######### SOCKET READY !! \r\n");
			/* While socket is in LISTEN mode we wait for a remote connection */
			while((sockStatus = getSn_SR(0)) == SOCK_LISTEN)
				//printf("SOCK LISTENNING ... !! \r\n");
				HAL_Delay(100);
			/* OK. Got a remote peer. Let's send a message to it */
				while(1) {
	  			  /* If connection is ESTABLISHED with remote peer */
	  			  if((sockStatus = getSn_SR(0)) == SOCK_ESTABLISHED) {
	  				  printf("######### SOCK_ESTABLISHED !! \r\n");
	  				  uint8_t remoteIP[4];
	  				  uint16_t remotePort;

	  				  /* Retrieving remote peer IP and port number */
	  				  getsockopt(0, SO_DESTIP, remoteIP);
	  				  getsockopt(0, SO_DESTPORT, (uint8_t*)&remotePort);
	  				  sprintf(msg, CONN_ESTABLISHED_MSG, remoteIP[0], remoteIP[1], remoteIP[2], remoteIP[3], remotePort);
	  				  printf("====================================================== \r\n");
	  				  printf(msg, CONN_ESTABLISHED_MSG, remoteIP[0], remoteIP[1], remoteIP[2], remoteIP[3], remotePort);
	  				  printf("====================================================== \r\n");
	  				  PRINT_STR(msg);

	  				  /* Let's send a welcome message and closing socket */
	  				  if((retVal = send(0, GREETING_MSG, strlen(GREETING_MSG))) == (int16_t)strlen(GREETING_MSG)) {
	  					  printf("######### WELCOME MESSAGE !! \r\n");
	  					  PRINT_STR(SENT_MESSAGE_MSG);
	  					  //etherNet_Flag = 0;
	  				  }

	  				  else { /* Ops: something went wrong during data transfer */
	  					  sprintf(msg, WRONG_RETVAL_MSG, retVal);
	  					  printf(" Wrong MESSAGE !! \r\n");
	  					  PRINT_STR(msg);
	  				  }
	  				  break;
	  			  }
	  			  else { /* Something went wrong with remote peer, maybe the connection was closed unexpectedly */
	  				  sprintf(msg, WRONG_STATUS_MSG, sockStatus);
	  				  PRINT_STR(msg);
	  				  break;
	  			  }
	  		  }

	  	  } else /* Ops: socket not in LISTEN mode. Something went wrong */
	  		  PRINT_STR(LISTEN_ERR_MSG);
	  } else { /* Can't open the socket. This means something is wrong with W5100 configuration: maybe SPI issue? */
	  	  sprintf(msg, WRONG_RETVAL_MSG, retVal);
	  	  PRINT_STR(msg);
	  }

	  /* We close the socket and start a connection again */
	  disconnect(0);
	  close(0);
}
/*##########################################################################################################*/
/*##########################################################################################################*/
/*gto*/
/* Synchronization Function */

void Sync_out(){
	// sync signal
	HAL_GPIO_WritePin(GPIOB, GPIO_A, 1);							// GPIO PB5 OUTPUT HIGH -> USART6 enable
	HAL_GPIO_WritePin(GPIOE, SYNC_GEN, 1);							// GPIO PE0 OUTPUT High -> SYNC_GEN
	HAL_GPIO_WritePin(GPIOC, TX_EN, 1);								// GPIO PC1 OUTPUT HIGH -> tx enable
	HAL_UART_Transmit(&huart6, (uint8_t *) &sync_Signal, 1, 10);	// send data(0xff)
	DWT_Delay_us(100);												// 10 microsecond
	HAL_GPIO_WritePin(GPIOC, TX_EN, 0);								// GPIO PC1 OUTPUT LOW -> tx enable
	HAL_GPIO_WritePin(GPIOE, SYNC_GEN, 0);							// GPIO PE0 OUTPUT LOW -> SYNC_GEN
}
/*##########################################################################################################*/

/*##########################################################################################################*/
/*gto*/
/* make a Substring function */

char *SubStr( char *pnInput, int nStart, int nLen )
{
    int nLoop ;
    int nLength ;
    char *pszOutPut ;

    if( pnInput == NULL ){
        return NULL ;
    }
    pszOutPut = (char *)malloc( sizeof(char) * nLen + 1 ) ;
    nLength = strlen( pnInput ) ;
    if( nLength > nStart + nLen ){
        nLength = nStart + nLen ;
    }
    for( nLoop = nStart ; nLoop < nLength ; nLoop++ ){
        pszOutPut[nLoop-nStart] = pnInput[nLoop] ;
    }
    pszOutPut[nLoop - nStart] = '\0' ;
    return pszOutPut ;
}
/*##########################################################################################################*/
/*##########################################################################################################*/

/* USER CODE END 4 */

 /**
  * @brief  Period elapsed callback in non blocking mode
  * @note   This function is called  when TIM6 interrupt took place, inside
  * HAL_TIM_IRQHandler(). It makes a direct call to HAL_IncTick() to increment
  * a global variable "uwTick" used as application time base.
  * @param  htim : TIM handle
  * @retval None
  */
void HAL_TIM_PeriodElapsedCallback(TIM_HandleTypeDef *htim)
{
  if (htim->Instance == TIM6) {
    HAL_IncTick();
  }
  /* USER CODE BEGIN Callback 1 */
  if(htim->Instance == TIM6) {
  	  wizDHCPticks++;
  	  //printf("TIM6 callback ==== %d \r\n", wizDHCPticks);
  	  if(wizDHCPticks >= 1000)
  	  {
  		  wizDHCPticks = 0;
  		  DHCP_time_handler();
  	  }
  }
  /* USER CODE END Callback 1 */
}

void Error_Handler(void)
{
  __disable_irq();
  while (1)
  {
  }
}

/************************ (C) COPYRIGHT STMicroelectronics *****END OF FILE****/
